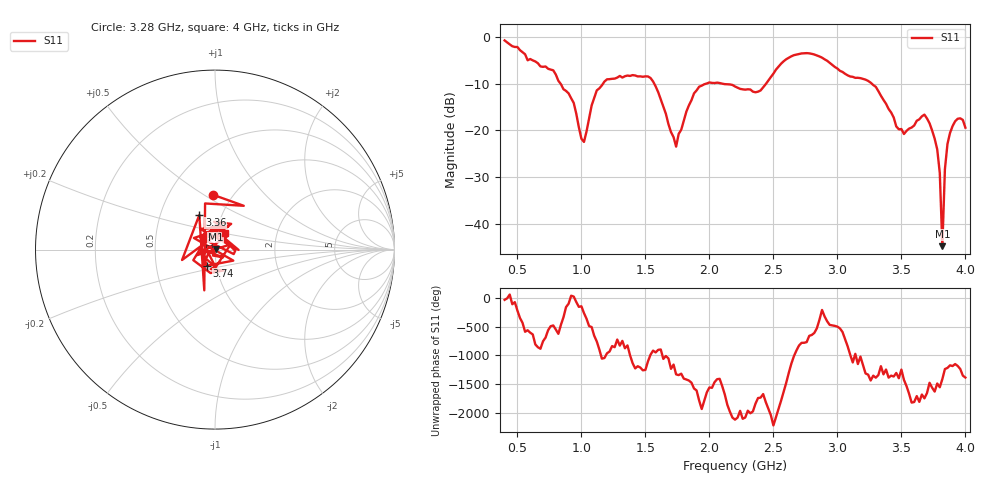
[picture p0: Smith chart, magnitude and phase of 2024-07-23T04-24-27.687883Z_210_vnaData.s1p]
!Created with skrf (http://scikit-rf.org).
# Hz S RI R 50.0
!freq ReS11 ImS11
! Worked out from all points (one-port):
!   181 points, 400 MHz to 4 GHz, reference 50 ohm
!   lowest |S11| = -44.8 dB at 3.82 GHz (marker M1), VSWR 1.01, Z = 50.5 + j0.315 ohm
!   |S11| at or under -10 dB: 1.569 GHz to 1.977 GHz (408.2 MHz wide, 23 % of centre); 2.098 GHz to 2.443 GHz (345 MHz wide, 15.2 % of centre); 3.268 GHz to end of sweep (the widest 3 of 4)
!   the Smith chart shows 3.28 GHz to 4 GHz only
!   S11 on the Smith chart (normalised r, x): 3.28 GHz: 0.81, +0.55; 3.36 GHz: 0.78, +0.32; 3.74 GHz: 0.90, -0.16; 4 GHz: 1.10, +0.20
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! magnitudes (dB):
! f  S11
! 400 MHz  -0.8
! 780 MHz  -7.2
! 860 MHz  -11.2
! 940 MHz  -14.1
! 1.02 GHz  -22.5
! 1.12 GHz  -11.5
! 1.3 GHz  -8.4
! 1.54 GHz  -8.8
! 1.74 GHz  -23.5
! 1.76 GHz  -20.8
! 1.92 GHz  -10.7
! 2.2 GHz  -10.6
! 2.4 GHz  -11.5
! 2.66 GHz  -3.9
! 3.1 GHz  -8.5
! 3.28 GHz  -10.3
! 3.36 GHz  -13.5
! 3.46 GHz  -19.2
! 3.56 GHz  -19.6
! 3.68 GHz  -16.6
! 3.74 GHz  -20.0
! 3.78 GHz  -24.1
! 3.8 GHz  -29.1
! 3.82 GHz  -44.8
! 3.84 GHz  -28.3
! 3.86 GHz  -22.9
! 3.94 GHz  -17.5
! 4 GHz  -19.4
